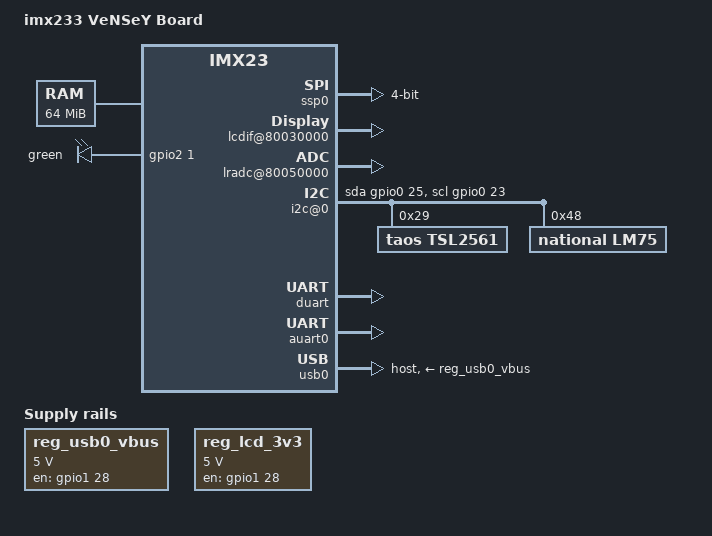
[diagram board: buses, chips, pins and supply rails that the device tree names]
/*
 * Copyright 2012 Freescale Semiconductor, Inc.
 *
 * Author: Fabio Estevam <fabio.estevam@freescale.com>
 *
 * The code contained herein is licensed under the GNU General Public
 * License. You may obtain a copy of the GNU General Public License
 * Version 2 or later at the following locations:
 *
 * http://www.opensource.org/licenses/gpl-license.html
 * http://www.gnu.org/copyleft/gpl.html
 */

/dts-v1/;
#include <dt-bindings/gpio/gpio.h>
#include "imx23.dtsi"

/ {
	model = "imx233 VeNSeY Board";
	compatible = "vensey,imx23-vensey", "fsl,imx23";

	memory {
		reg = <0x40000000 0x04000000>;
	};

	apb@80000000 {
		apbh@80000000 {
			
			ssp0: ssp@80010000 {
				compatible = "fsl,imx23-mmc";
				pinctrl-names = "default";
				pinctrl-0 = <&mmc0_4bit_pins_a &mmc0_pins_fixup>;
				bus-width = <4>;
				broken-cd;
				status = "okay";
			};
			 

			pinctrl@80018000 {
				pinctrl-names = "default";
				pinctrl-0 = <&hog_pins_a>;

				hog_pins_a: hog@0 {
					reg = <0>;
					fsl,pinmux-ids = <
						MX23_PAD_GPMI_WPN__GPIO_0_23 /* SCL */ 
						MX23_PAD_GPMI_RDN__GPIO_0_25 /* SDA */ 
					>;
					fsl,drive-strength = <MXS_DRIVE_16mA>;
					fsl,voltage = <1>;
					fsl,pull-up = <0>;
				};

				led_pin_gpio2_1: led_gpio2_1@0 {
					reg = <0>;
					fsl,pinmux-ids = <
						MX23_PAD_SSP1_DETECT__GPIO_2_1
					>;
					fsl,drive-strength = <MXS_DRIVE_4mA>;
					fsl,voltage = <MXS_VOLTAGE_HIGH>;
					fsl,pull-up = <MXS_PULL_DISABLE>;
				};

				lcdif_18bit_pins_a: lcdif-18bit@0 {
                                        reg = <0>;
                                        fsl,pinmux-ids = <
                                                MX23_PAD_LCD_D00__LCD_D00 /* single usage */
                                                MX23_PAD_LCD_D01__LCD_D01 /* single usage */
                                                MX23_PAD_LCD_D02__LCD_D02 /* single usage */
                                                MX23_PAD_LCD_D03__LCD_D03 /* single usage */
                                                MX23_PAD_LCD_D04__LCD_D04 
                                                MX23_PAD_LCD_D05__LCD_D05 
                                                MX23_PAD_LCD_D06__LCD_D06
                                                MX23_PAD_LCD_D07__LCD_D07 
						MX23_PAD_GPMI_D00__LCD_D8
						MX23_PAD_GPMI_D01__LCD_D9
						MX23_PAD_GPMI_D02__LCD_D10
						MX23_PAD_GPMI_D03__LCD_D11
						MX23_PAD_GPMI_D04__LCD_D12
						MX23_PAD_GPMI_D05__LCD_D13
						MX23_PAD_GPMI_D06__LCD_D14
						MX23_PAD_GPMI_D07__LCD_D15
						MX23_PAD_GPMI_CLE__LCD_D16
						MX23_PAD_GPMI_ALE__LCD_D17 
						MX23_PAD_LCD_DOTCK__LCD_DOTCK /* single usage */
						MX23_PAD_LCD_ENABLE__LCD_ENABLE
						MX23_PAD_LCD_HSYNC__LCD_HSYNC /* single usage */
                                                MX23_PAD_LCD_VSYNC__LCD_VSYNC /* single usage */
                                        >;
                                        fsl,drive-strength = <MXS_DRIVE_4mA>;
                                        fsl,voltage = <MXS_VOLTAGE_HIGH>;
                                        fsl,pull-up = <MXS_PULL_DISABLE>;
                                };

			};


			lcdif@80030000 {
				reg = <0x80030000 2000>;
				pinctrl-names = "default";
                                pinctrl-0 = <&lcdif_18bit_pins_a>; 
                                lcd-supply = <&reg_lcd_3v3>;
                                display = <&display0>;
                                status = "okay";

                                display0: display0 {
                                        bits-per-pixel = <32>;
                                        bus-width = <18>;
                                        display-timings {
                                                native-mode = <&timing0>;
                                                timing0: timing0 {
							clock-frequency = <40000000>;
 							hactive = <800>;
 							vactive = <480>;
 							hback-porch = <45>;
							hfront-porch = <9>;
 							vback-porch = <22>;
 							vfront-porch = <1>;
							hsync-len = <1>;
 							vsync-len = <1>;
 							hsync-active = <0>;  
 							vsync-active = <0>;  
 							de-active = <1>; 
 							pixelclk-active = <0>;  
                                                };
                                        };
                                };
                        };
 
		
		};

		apbx@80040000 {

			lradc@80050000 {
				status = "okay";
			}; 

			i2c@0 {
				compatible = "i2c-gpio";
				gpios = <
					&gpio0 25 0				/* sda */
					&gpio0 23 0				/* scl */
				>;
				i2c-gpio,sda-open-drain;
				i2c-gpio,scl-open-drain;  
				i2c-gpio,delay-us = <2>;	/* ~100 kHz */
				#address-cells = <1>;
				#size-cells = <0>;

				tsl2561: tsl2561@29 {
					compatible = "taos,tsl2561";
					reg = <0x29>;
				};

				lm75: lm75@48 {
					compatible = "national,lm75";
					reg = <0x48>;
				};
 
			};


			duart: serial@80070000 {
				pinctrl-names = "default";
				pinctrl-0 = <&duart_pins_a>;
				status = "okay";
			};

			auart0: serial@8006c000 {
				pinctrl-names = "default";
				pinctrl-0 = <&auart0_2pins_a>;
				status = "okay";
			};

			usbphy0: usbphy@8007c000 {
				status = "okay";
			};
		};
	};

	ahb@80080000 {
		usb0: usb@80080000 {
			dr_mode = "host";
			vbus-supply = <&reg_usb0_vbus>;
			status = "okay";
		};
	};

	regulators {
		compatible = "simple-bus";
		#address-cells = <1>;
		#size-cells = <0>;

		reg_usb0_vbus: regulator@0 {
			compatible = "regulator-fixed";
			reg = <0>;
			regulator-name = "usb0_vbus";
			regulator-min-microvolt = <5000000>;
			regulator-max-microvolt = <5000000>;
			enable-active-high;
			startup-delay-us = <300>; /* LAN9215 requires a POR of 200us minimum */
			gpio = <&gpio1 28 0>;
		};
	
		reg_lcd_3v3: regulator@1 {
                        compatible = "regulator-fixed";
                        reg = <0>;
                        regulator-name = "lcd-3v3";
                        regulator-min-microvolt = <5000000>;
                        regulator-max-microvolt = <5000000>;
                        gpio = <&gpio1 28 0>;
                        enable-active-high;
                };
	};

	leds {
		compatible = "gpio-leds";
		pinctrl-names = "default";
		pinctrl-0 = <&led_pin_gpio2_1>;

		user {
			label = "green";
			gpios = <&gpio2 1 GPIO_ACTIVE_HIGH>;
		};
	};
};
